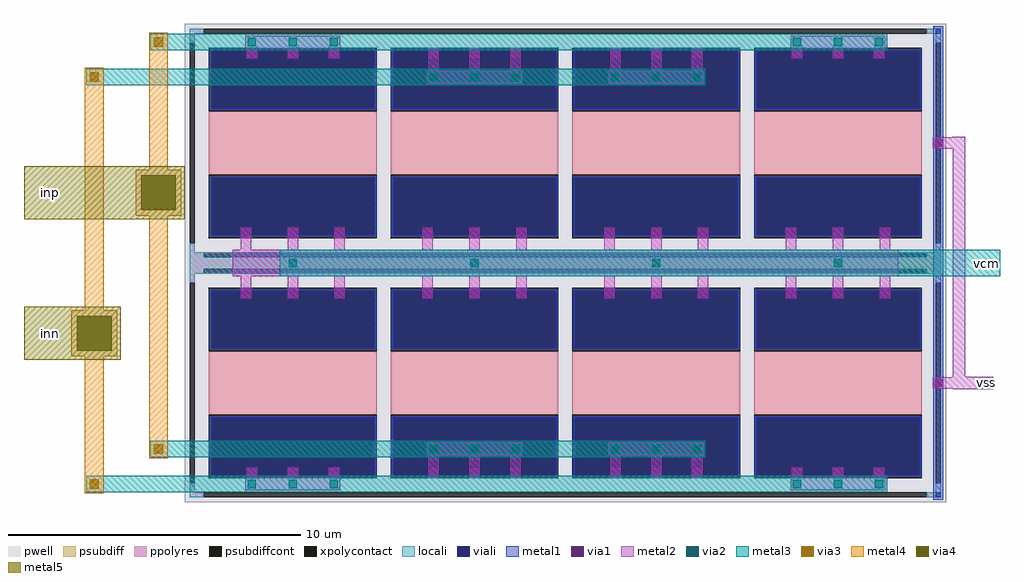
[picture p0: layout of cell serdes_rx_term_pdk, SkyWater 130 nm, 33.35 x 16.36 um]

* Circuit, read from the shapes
.subckt serdes_rx_term_pdk inp inn vcm vss
XR1 vcm inn vss sky130_fd_pr__res_high_po w=5.73 l=2.18 m=4
XR2 inp vcm vss sky130_fd_pr__res_high_po w=5.73 l=2.18 m=4
.ends

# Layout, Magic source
magic
tech sky130A
magscale 1 2
<< pwell >>
rect -2602 4 2602 1636
rect -2602 -1636 2602 -4
rect -2602 -100 2602 100
<< psubdiff >>
rect -2566 1566 -2470 1600
rect 2470 1566 2566 1600
rect -2566 1504 -2532 1566
rect 2532 1504 2566 1566
rect -2566 74 -2532 136
rect 2532 74 2566 136
rect -2566 40 -2470 74
rect 2470 40 2566 74
rect -2566 -74 -2470 -40
rect 2470 -74 2566 -40
rect -2566 -136 -2532 -74
rect 2532 -136 2566 -74
rect -2566 -1566 -2532 -1504
rect 2532 -1566 2566 -1504
rect -2566 -1600 -2470 -1566
rect 2470 -1600 2566 -1566
rect -2566 -74 2566 74
<< psubdiffcont >>
rect -2470 1566 2470 1600
rect -2566 136 -2532 1504
rect 2532 136 2566 1504
rect -2470 40 2470 74
rect -2470 -74 2470 -40
rect -2566 -1504 -2532 -136
rect 2532 -1504 2566 -136
rect -2470 -1600 2470 -1566
<< xpolycontact >>
rect -2436 1038 -1290 1470
rect -2436 170 -1290 602
rect -1194 1038 -48 1470
rect -1194 170 -48 602
rect 48 1038 1194 1470
rect 48 170 1194 602
rect 1290 1038 2436 1470
rect 1290 170 2436 602
rect -2436 -602 -1290 -170
rect -2436 -1470 -1290 -1038
rect -1194 -602 -48 -170
rect -1194 -1470 -48 -1038
rect 48 -602 1194 -170
rect 48 -1470 1194 -1038
rect 1290 -602 2436 -170
rect 1290 -1470 2436 -1038
<< ppolyres >>
rect -2436 602 -1290 1038
rect -1194 602 -48 1038
rect 48 602 1194 1038
rect 1290 602 2436 1038
rect -2436 -1038 -1290 -602
rect -1194 -1038 -48 -602
rect 48 -1038 1194 -602
rect 1290 -1038 2436 -602
<< locali >>
rect -2566 1566 -2470 1600
rect 2470 1566 2566 1600
rect -2566 1504 -2532 1566
rect 2532 1504 2566 1566
rect -2566 74 -2532 136
rect 2532 74 2566 136
rect -2566 40 -2470 74
rect 2470 40 2566 74
rect -2566 -74 -2470 -40
rect 2470 -74 2566 -40
rect -2566 -136 -2532 -74
rect 2532 -136 2566 -74
rect -2566 -1566 -2532 -1504
rect 2532 -1566 2566 -1504
rect -2566 -1600 -2470 -1566
rect 2470 -1600 2566 -1566
rect -2566 -74 2566 74
<< viali >>
rect -2420 1055 -1306 1452
rect -1178 1055 -64 1452
rect 64 1055 1178 1452
rect 1306 1055 2420 1452
rect -2420 188 -1306 585
rect -1178 188 -64 585
rect 64 188 1178 585
rect 1306 188 2420 585
rect -2420 -585 -1306 -188
rect -1178 -585 -64 -188
rect 64 -585 1178 -188
rect 1306 -585 2420 -188
rect -2420 -1452 -1306 -1055
rect -1178 -1452 -64 -1055
rect 64 -1452 1178 -1055
rect 1306 -1452 2420 -1055
rect 2532 -837 2566 -803
rect 2532 803 2566 837
rect 2532 1566 2566 1600
rect 2532 -1600 2566 -1566
<< metal1 >>
rect -2432 1452 -1294 1458
rect -2432 1055 -2420 1452
rect -1306 1055 -1294 1452
rect -2432 1049 -1294 1055
rect -1190 1452 -52 1458
rect -1190 1055 -1178 1452
rect -64 1055 -52 1452
rect -1190 1049 -52 1055
rect 52 1452 1190 1458
rect 52 1055 64 1452
rect 1178 1055 1190 1452
rect 52 1049 1190 1055
rect 1294 1452 2432 1458
rect 1294 1055 1306 1452
rect 2420 1055 2432 1452
rect 1294 1049 2432 1055
rect -2432 585 -1294 591
rect -2432 188 -2420 585
rect -1306 188 -1294 585
rect -2432 182 -1294 188
rect -1190 585 -52 591
rect -1190 188 -1178 585
rect -64 188 -52 585
rect -1190 182 -52 188
rect 52 585 1190 591
rect 52 188 64 585
rect 1178 188 1190 585
rect 52 182 1190 188
rect 1294 585 2432 591
rect 1294 188 1306 585
rect 2420 188 2432 585
rect 1294 182 2432 188
rect -2432 -188 -1294 -182
rect -2432 -585 -2420 -188
rect -1306 -585 -1294 -188
rect -2432 -591 -1294 -585
rect -1190 -188 -52 -182
rect -1190 -585 -1178 -188
rect -64 -585 -52 -188
rect -1190 -591 -52 -585
rect 52 -188 1190 -182
rect 52 -585 64 -188
rect 1178 -585 1190 -188
rect 52 -591 1190 -585
rect 1294 -188 2432 -182
rect 1294 -585 1306 -188
rect 2420 -585 2432 -188
rect 1294 -591 2432 -585
rect -2432 -1055 -1294 -1049
rect -2432 -1452 -2420 -1055
rect -1306 -1452 -1294 -1055
rect -2432 -1458 -1294 -1452
rect -1190 -1055 -52 -1049
rect -1190 -1452 -1178 -1055
rect -64 -1452 -52 -1055
rect -1190 -1458 -52 -1452
rect 52 -1055 1190 -1049
rect 52 -1452 64 -1055
rect 1178 -1452 1190 -1055
rect 52 -1458 1190 -1452
rect 1294 -1055 2432 -1049
rect 1294 -1452 1306 -1055
rect 2420 -1452 2432 -1055
rect 1294 -1458 2432 -1452
rect -2215 173 -2151 237
rect -2215 -237 -2151 -173
rect -1895 173 -1831 237
rect -1895 -237 -1831 -173
rect -1575 173 -1511 237
rect -1575 -237 -1511 -173
rect -973 173 -909 237
rect -973 -237 -909 -173
rect -653 173 -589 237
rect -653 -237 -589 -173
rect -333 173 -269 237
rect -333 -237 -269 -173
rect 269 173 333 237
rect 269 -237 333 -173
rect 589 173 653 237
rect 589 -237 653 -173
rect 909 173 973 237
rect 909 -237 973 -173
rect 1511 173 1575 237
rect 1511 -237 1575 -173
rect 1831 173 1895 237
rect 1831 -237 1895 -173
rect 2151 173 2215 237
rect 2151 -237 2215 -173
rect 2520 -849 2578 -791
rect 2517 -852 2581 -788
rect 2520 791 2578 849
rect 2517 788 2581 852
rect 2520 1554 2578 1612
rect 2520 -1612 2578 -1554
rect 2515 -1617 2583 1617
rect -2175 1403 -2111 1467
rect -1895 1403 -1831 1467
rect -1615 1403 -1551 1467
rect 1551 1403 1615 1467
rect 1831 1403 1895 1467
rect 2111 1403 2175 1467
rect -933 1403 -869 1467
rect -653 1403 -589 1467
rect -373 1403 -309 1467
rect 309 1403 373 1467
rect 589 1403 653 1467
rect 869 1403 933 1467
rect -933 -1467 -869 -1403
rect -653 -1467 -589 -1403
rect -373 -1467 -309 -1403
rect 309 -1467 373 -1403
rect 589 -1467 653 -1403
rect 869 -1467 933 -1403
rect -2175 -1467 -2111 -1403
rect -1895 -1467 -1831 -1403
rect -1615 -1467 -1551 -1403
rect 1551 -1467 1615 -1403
rect 1831 -1467 1895 -1403
rect 2111 -1467 2175 -1403
<< via1 >>
rect -2209 179 -2157 231
rect -2209 -231 -2157 -179
rect -1889 179 -1837 231
rect -1889 -231 -1837 -179
rect -1569 179 -1517 231
rect -1569 -231 -1517 -179
rect -967 179 -915 231
rect -967 -231 -915 -179
rect -647 179 -595 231
rect -647 -231 -595 -179
rect -327 179 -275 231
rect -327 -231 -275 -179
rect 275 179 327 231
rect 275 -231 327 -179
rect 595 179 647 231
rect 595 -231 647 -179
rect 915 179 967 231
rect 915 -231 967 -179
rect 1517 179 1569 231
rect 1517 -231 1569 -179
rect 1837 179 1889 231
rect 1837 -231 1889 -179
rect 2157 179 2209 231
rect 2157 -231 2209 -179
rect 2523 -846 2575 -794
rect 2523 794 2575 846
rect -2169 1409 -2117 1461
rect -1889 1409 -1837 1461
rect -1609 1409 -1557 1461
rect 1557 1409 1609 1461
rect 1837 1409 1889 1461
rect 2117 1409 2169 1461
rect -927 1409 -875 1461
rect -647 1409 -595 1461
rect -367 1409 -315 1461
rect 315 1409 367 1461
rect 595 1409 647 1461
rect 875 1409 927 1461
rect -927 -1461 -875 -1409
rect -647 -1461 -595 -1409
rect -367 -1461 -315 -1409
rect 315 -1461 367 -1409
rect 595 -1461 647 -1409
rect 875 -1461 927 -1409
rect -2169 -1461 -2117 -1409
rect -1889 -1461 -1837 -1409
rect -1609 -1461 -1557 -1409
rect 1557 -1461 1609 -1409
rect 1837 -1461 1889 -1409
rect 2117 -1461 2169 -1409
<< metal2 >>
rect -2215 173 -2151 237
rect -2215 -237 -2151 -173
rect -2219 -241 -2147 241
rect -1895 173 -1831 237
rect -1895 -237 -1831 -173
rect -1899 -241 -1827 241
rect -1575 173 -1511 237
rect -1575 -237 -1511 -173
rect -1579 -241 -1507 241
rect -1903 -40 -1823 40
rect -973 173 -909 237
rect -973 -237 -909 -173
rect -977 -241 -905 241
rect -653 173 -589 237
rect -653 -237 -589 -173
rect -657 -241 -585 241
rect -333 173 -269 237
rect -333 -237 -269 -173
rect -337 -241 -265 241
rect -661 -40 -581 40
rect 269 173 333 237
rect 269 -237 333 -173
rect 265 -241 337 241
rect 589 173 653 237
rect 589 -237 653 -173
rect 585 -241 657 241
rect 909 173 973 237
rect 909 -237 973 -173
rect 905 -241 977 241
rect 581 -40 661 40
rect 1511 173 1575 237
rect 1511 -237 1575 -173
rect 1507 -241 1579 241
rect 1831 173 1895 237
rect 1831 -237 1895 -173
rect 1827 -241 1899 241
rect 2151 173 2215 237
rect 2151 -237 2215 -173
rect 2147 -241 2219 241
rect 1823 -40 1903 40
rect -2273 -90 2273 90
rect 2517 -852 2581 -788
rect 2517 788 2581 852
rect 2509 -860 2730 -780
rect 2509 780 2730 860
rect 2646 -864 2734 864
rect 2646 -864 2924 -776
rect -2175 1403 -2111 1467
rect -2179 1399 -2107 1546
rect -2183 1470 -2103 1550
rect -1895 1403 -1831 1467
rect -1899 1399 -1827 1546
rect -1903 1470 -1823 1550
rect -1615 1403 -1551 1467
rect -1619 1399 -1547 1546
rect -1623 1470 -1543 1550
rect -2187 1466 -1539 1554
rect 1551 1403 1615 1467
rect 1547 1399 1619 1546
rect 1543 1470 1623 1550
rect 1831 1403 1895 1467
rect 1827 1399 1899 1546
rect 1823 1470 1903 1550
rect 2111 1403 2175 1467
rect 2107 1399 2179 1546
rect 2103 1470 2183 1550
rect 1539 1466 2187 1554
rect -933 1403 -869 1467
rect -937 1234 -865 1471
rect -941 1230 -861 1310
rect -653 1403 -589 1467
rect -657 1234 -585 1471
rect -661 1230 -581 1310
rect -373 1403 -309 1467
rect -377 1234 -305 1471
rect -381 1230 -301 1310
rect -945 1226 -297 1314
rect 309 1403 373 1467
rect 305 1234 377 1471
rect 301 1230 381 1310
rect 589 1403 653 1467
rect 585 1234 657 1471
rect 581 1230 661 1310
rect 869 1403 933 1467
rect 865 1234 937 1471
rect 861 1230 941 1310
rect 297 1226 945 1314
rect -933 -1467 -869 -1403
rect -937 -1471 -865 -1234
rect -941 -1310 -861 -1230
rect -653 -1467 -589 -1403
rect -657 -1471 -585 -1234
rect -661 -1310 -581 -1230
rect -373 -1467 -309 -1403
rect -377 -1471 -305 -1234
rect -381 -1310 -301 -1230
rect -945 -1314 -297 -1226
rect 309 -1467 373 -1403
rect 305 -1471 377 -1234
rect 301 -1310 381 -1230
rect 589 -1467 653 -1403
rect 585 -1471 657 -1234
rect 581 -1310 661 -1230
rect 869 -1467 933 -1403
rect 865 -1471 937 -1234
rect 861 -1310 941 -1230
rect 297 -1314 945 -1226
rect -2175 -1467 -2111 -1403
rect -2179 -1546 -2107 -1399
rect -2183 -1550 -2103 -1470
rect -1895 -1467 -1831 -1403
rect -1899 -1546 -1827 -1399
rect -1903 -1550 -1823 -1470
rect -1615 -1467 -1551 -1403
rect -1619 -1546 -1547 -1399
rect -1623 -1550 -1543 -1470
rect -2187 -1554 -1539 -1466
rect 1551 -1467 1615 -1403
rect 1547 -1546 1619 -1399
rect 1543 -1550 1623 -1470
rect 1831 -1467 1895 -1403
rect 1827 -1546 1899 -1399
rect 1823 -1550 1903 -1470
rect 2111 -1467 2175 -1403
rect 2107 -1546 2179 -1399
rect 2103 -1550 2183 -1470
rect 1539 -1554 2187 -1466
<< via2 >>
rect -1891 -28 -1835 28
rect -649 -28 -593 28
rect 593 -28 649 28
rect 1835 -28 1891 28
rect -2171 1482 -2115 1538
rect -1891 1482 -1835 1538
rect -1611 1482 -1555 1538
rect 1555 1482 1611 1538
rect 1835 1482 1891 1538
rect 2115 1482 2171 1538
rect -929 1242 -873 1298
rect -649 1242 -593 1298
rect -369 1242 -313 1298
rect 313 1242 369 1298
rect 593 1242 649 1298
rect 873 1242 929 1298
rect -929 -1298 -873 -1242
rect -649 -1298 -593 -1242
rect -369 -1298 -313 -1242
rect 313 -1298 369 -1242
rect 593 -1298 649 -1242
rect 873 -1298 929 -1242
rect -2171 -1538 -2115 -1482
rect -1891 -1538 -1835 -1482
rect -1611 -1538 -1555 -1482
rect 1555 -1538 1611 -1482
rect 1835 -1538 1891 -1482
rect 2115 -1538 2171 -1482
<< metal3 >>
rect -1903 -40 -1823 40
rect -1915 -52 -1811 52
rect -661 -40 -581 40
rect -673 -52 -569 52
rect 581 -40 661 40
rect 569 -52 673 52
rect 1823 -40 1903 40
rect 1811 -52 1915 52
rect -1953 -90 2970 90
rect -2183 1470 -2103 1550
rect -2195 1458 -2091 1562
rect -1903 1470 -1823 1550
rect -1915 1458 -1811 1562
rect -1623 1470 -1543 1550
rect -1635 1458 -1531 1562
rect 1543 1470 1623 1550
rect 1531 1458 1635 1562
rect 1823 1470 1903 1550
rect 1811 1458 1915 1562
rect 2103 1470 2183 1550
rect 2091 1458 2195 1562
rect -941 1230 -861 1310
rect -953 1218 -849 1322
rect -661 1230 -581 1310
rect -673 1218 -569 1322
rect -381 1230 -301 1310
rect -393 1218 -289 1322
rect 301 1230 381 1310
rect 289 1218 393 1322
rect 581 1230 661 1310
rect 569 1218 673 1322
rect 861 1230 941 1310
rect 849 1218 953 1322
rect -941 -1310 -861 -1230
rect -953 -1322 -849 -1218
rect -661 -1310 -581 -1230
rect -673 -1322 -569 -1218
rect -381 -1310 -301 -1230
rect -393 -1322 -289 -1218
rect 301 -1310 381 -1230
rect 289 -1322 393 -1218
rect 581 -1310 661 -1230
rect 569 -1322 673 -1218
rect 861 -1310 941 -1230
rect 849 -1322 953 -1218
rect -2183 -1550 -2103 -1470
rect -2195 -1562 -2091 -1458
rect -1903 -1550 -1823 -1470
rect -1915 -1562 -1811 -1458
rect -1623 -1550 -1543 -1470
rect -1635 -1562 -1531 -1458
rect 1543 -1550 1623 -1470
rect 1531 -1562 1635 -1458
rect 1823 -1550 1903 -1470
rect 1811 -1562 1915 -1458
rect 2103 -1550 2183 -1470
rect 2091 -1562 2195 -1458
rect -2836 1454 2199 1566
rect -2836 -1326 957 -1214
rect -3276 1214 957 1326
rect -3276 -1566 2199 -1454
rect -2832 -1322 -2728 -1218
rect -2832 1458 -2728 1562
rect -3272 -1562 -3168 -1458
rect -3272 1218 -3168 1322
<< via3 >>
rect -2812 -1302 -2748 -1238
rect -2812 1478 -2748 1542
rect -3252 -1542 -3188 -1478
rect -3252 1238 -3188 1302
<< metal4 >>
rect -2832 -1322 -2728 -1218
rect -2832 1458 -2728 1562
rect -2844 -1334 -2716 1574
rect -2936 324 -2624 636
rect -3272 -1562 -3168 -1458
rect -3272 1218 -3168 1322
rect -3284 -1574 -3156 1334
rect -3376 -636 -3064 -324
<< via4 >>
rect -2898 362 -2662 598
rect -3338 -598 -3102 -362
<< metal5 >>
rect -2960 300 -2600 660
rect -3700 300 -2600 660
rect -3400 -660 -3040 -300
rect -3700 -660 -3040 -300
<< labels >>
rlabel metal5 -3520 480 -3520 480 0 inp
port 1 nsew
rlabel metal5 -3520 -480 -3520 -480 0 inn
port 2 nsew
rlabel metal3 2880 0 2880 0 0 vcm
port 3 nsew
rlabel metal2 2880 -820 2880 -820 0 vss
port 4 nsew
<< end >>
